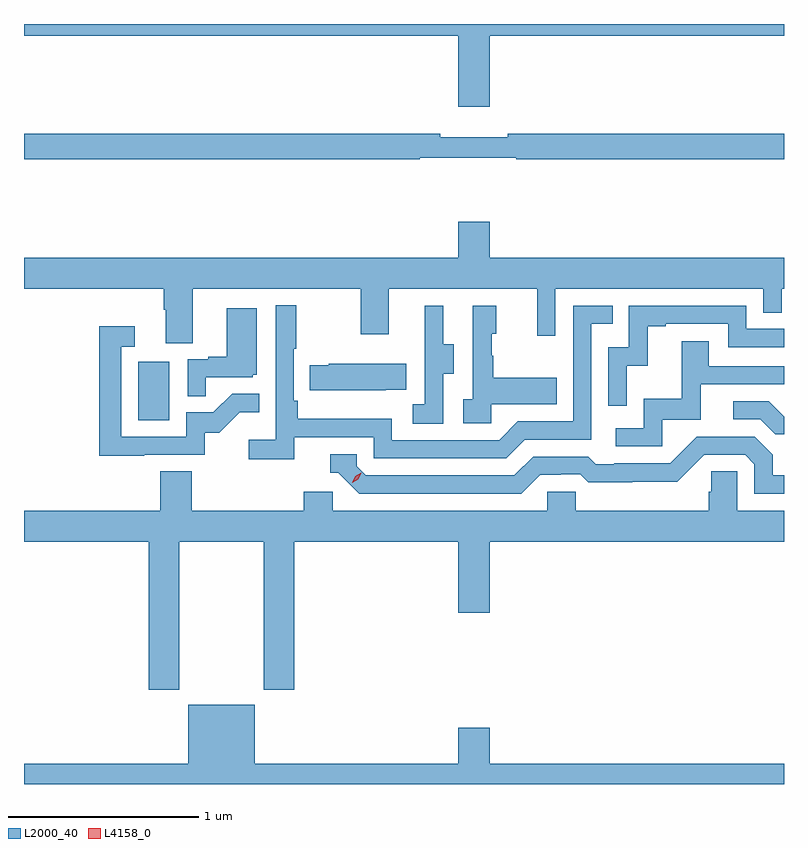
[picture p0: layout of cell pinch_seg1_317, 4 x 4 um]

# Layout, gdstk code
import gdstk
lib = gdstk.Library(unit=1e-6, precision=1e-09)
def R(c, l, rs):  # rectangles x0, y0, x1, y1
    for r in rs: c.add(gdstk.rectangle(r[:2], r[2:], *l))
def P(c, l, *ps):  # polygons
    for p in ps: c.add(gdstk.Polygon(p, *l))
L2000_40 = (2000, 40)
L4158_0 = (4158, 0)

pinch_seg1_317 = lib.new_cell('pinch_seg1_317')
R(pinch_seg1_317, L2000_40, [(990.494,552.372,990.658,552.679)])
P(pinch_seg1_317, L2000_40, [(992.344,554.396),(993.894,554.396),(993.894,554.457),(989.894,554.457),(989.894,554.396),(992.18,554.396),(992.18,554.022),(992.344,554.022)],
  [(991.976,553.752),(992.484,553.752),(992.484,553.744),(993.894,553.744),(993.894,553.88),(992.44,553.88),(992.44,553.861),(992.084,553.861),(992.084,553.88),(989.894,553.88),(989.894,553.744),(991.976,553.744)],
  [(990.781,553.064),(991.666,553.064),(991.666,552.825),(991.813,552.825),(991.813,553.064),(992.594,553.064),(992.594,552.816),(992.691,552.816),(992.691,553.064),(993.786,553.064),(993.786,552.937),(993.882,552.937),(993.882,553.064),(993.894,553.064),(993.894,553.228),(992.344,553.228),(992.344,553.417),(992.18,553.417),(992.18,553.228),(989.894,553.228),(989.894,553.064),(990.629,553.064),(990.629,552.952),(990.641,552.952),(990.641,552.778),(990.781,552.778)],
  [(991.316,552.282),(991.734,552.282),(991.734,552.171),(992.431,552.171),(992.53,552.27),(992.88,552.27),(992.88,552.879),(992.993,552.879),(992.993,552.975),(992.784,552.975),(992.784,552.366),(992.493,552.366),(992.394,552.267),(991.83,552.267),(991.83,552.379),(991.334,552.379),(991.334,552.475),(991.314,552.475),(991.314,552.748),(991.327,552.748),(991.327,552.976),(991.218,552.976),(991.218,552.268),(991.077,552.268),(991.077,552.166),(991.316,552.166)],
  [(993.066,552.659),(993.176,552.659),(993.176,552.867),(993.271,552.867),(993.271,552.879),(993.6,552.879),(993.6,552.756),(993.894,552.756),(993.894,552.852),(993.696,552.852),(993.696,552.975),(993.078,552.975),(993.078,552.756),(992.97,552.756),(992.97,552.447),(993.066,552.447)],
  [(992.352,552.455),(992.699,552.455),(992.699,552.595),(992.365,552.595),(992.365,552.71),(992.355,552.71),(992.355,552.828),(992.38,552.828),(992.38,552.973),(992.256,552.973),(992.256,552.482),(992.205,552.482),(992.205,552.357),(992.352,552.357)],
  [(992.1,552.616),(992.155,552.616),(992.155,552.771),(992.101,552.771),(992.101,552.973),(992.003,552.973),(992.003,552.759),(992.004,552.759),(992.004,552.455),(991.941,552.455),(991.941,552.352),(992.1,552.352)],
  [(990.851,552.597),(991.098,552.597),(991.098,552.612),(991.12,552.612),(991.12,552.961),(990.962,552.961),(990.962,552.706),(990.863,552.706),(990.863,552.693),(990.756,552.693),(990.756,552.499),(990.851,552.499)],
  [(990.527,552.189),(990.846,552.189),(990.846,552.306),(990.922,552.306),(991.029,552.413),(991.133,552.413),(991.133,552.512),(990.989,552.512),(990.891,552.414),(990.747,552.414),(990.747,552.285),(990.405,552.285),(990.405,552.759),(990.478,552.759),(990.478,552.865),(990.289,552.865),(990.289,552.184),(990.527,552.184)],
  [(993.252,552.375),(993.457,552.375),(993.457,552.561),(993.894,552.561),(993.894,552.657),(993.499,552.657),(993.499,552.787),(993.355,552.787),(993.355,552.484),(993.156,552.484),(993.156,552.33),(993.009,552.33),(993.009,552.234),(993.252,552.234)],
  [(991.799,552.533),(991.907,552.533),(991.907,552.67),(991.497,552.67),(991.497,552.66),(991.399,552.66),(991.399,552.53),(991.799,552.53)],
  [(993.894,552.391),(993.814,552.471),(993.627,552.471),(993.627,552.378),(993.768,552.378),(993.848,552.298),(993.894,552.298)],
  [(992.611,552.084),(992.718,552.084),(992.718,552.087),(992.821,552.087),(992.863,552.045),(993.096,552.045),(993.096,552.047),(993.332,552.047),(993.474,552.189),(993.69,552.189),(993.738,552.141),(993.738,551.985),(993.894,551.985),(993.894,552.081),(993.835,552.081),(993.835,552.191),(993.741,552.285),(993.435,552.285),(993.294,552.144),(993.001,552.144),(993.001,552.141),(992.902,552.141),(992.863,552.18),(992.574,552.18),(992.475,552.081),(991.692,552.081),(991.644,552.129),(991.644,552.192),(991.505,552.192),(991.505,552.096),(991.548,552.096),(991.659,551.985),(992.512,551.985)],
  [(990.711,551.732),(991.156,551.732),(991.156,550.953),(991.316,550.953),(991.316,551.732),(992.18,551.732),(992.18,551.358),(992.344,551.358),(992.344,551.732),(993.894,551.732),(993.894,551.896),(993.648,551.896),(993.648,552.104),(993.511,552.104),(993.511,551.994),(993.497,551.994),(993.497,551.896),(992.799,551.896),(992.799,551.994),(992.649,551.994),(992.649,551.896),(991.518,551.896),(991.518,551.994),(991.367,551.994),(991.367,551.896),(990.776,551.896),(990.776,552.104),(990.611,552.104),(990.611,551.896),(989.894,551.896),(989.894,551.732),(990.551,551.732),(990.551,550.953),(990.711,550.953)],
  [(993.894,550.564),(992.344,550.564),(992.344,550.753),(992.18,550.753),(992.18,550.564),(991.108,550.564),(991.108,550.873),(990.758,550.873),(990.758,550.564),(989.894,550.564),(989.894,550.457),(993.894,550.457)])
P(pinch_seg1_317, L4158_0, [(991.621,552.043),(991.621,552.043),(991.637,552.076),(991.668,552.095),(991.668,552.095),(991.668,552.095),(991.652,552.062),(991.621,552.043)])

lib.write_gds('pinch_seg1_317.gds')
